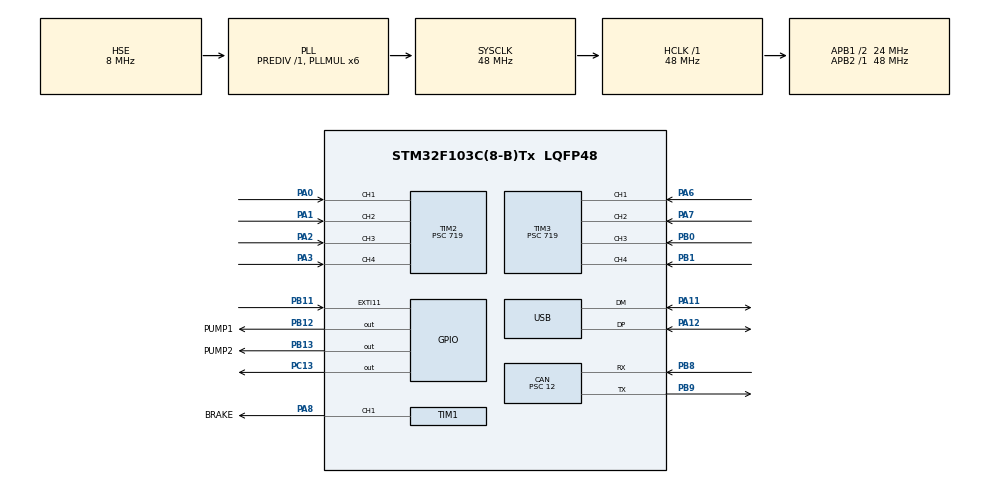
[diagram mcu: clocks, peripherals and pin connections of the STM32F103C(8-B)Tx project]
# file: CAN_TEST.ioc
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CAN.BS1=CAN_BS1_3TQ
CAN.BS2=CAN_BS2_2TQ
CAN.CalculateBaudRate=333333
CAN.CalculateTimeBit=3000.00
CAN.CalculateTimeQuantum=500.0
CAN.Prescaler=12
FREERTOS.Tasks01=can_task,2,128,CAN_Task,Default,NULL,Dynamic,NULL,NULL;rc_task,2,128,RemoteControl_Task,Default,NULL,Dynamic,NULL,NULL;uart_task,2,128,Uart_Task,Default,NULL,Dynamic,NULL,NULL
Mcu.Family=STM32F1
Mcu.Name=STM32F103C(8-B)Tx
Mcu.Package=LQFP48
NVIC.CAN1_RX1_IRQn=true\:5\:0\:false\:false\:true\:true\:true\:true
NVIC.EXTI15_10_IRQn=true\:5\:0\:false\:false\:true\:false\:true\:true
NVIC.FLASH_IRQn=true\:5\:0\:false\:false\:true\:true\:true\:true
NVIC.PriorityGroup=NVIC_PRIORITYGROUP_4
NVIC.RCC_IRQn=true\:5\:0\:false\:false\:true\:true\:true\:false
NVIC.TIM2_IRQn=true\:0\:0\:true\:false\:true\:false\:true\:true
NVIC.TIM3_IRQn=true\:0\:0\:true\:false\:true\:false\:true\:true
NVIC.USB_HP_CAN1_TX_IRQn=true\:5\:0\:false\:false\:true\:true\:true\:true
NVIC.USB_LP_CAN1_RX0_IRQn=true\:1\:0\:true\:false\:true\:false\:true\:true
PA0-WKUP.Signal=S_TIM2_CH1_ETR
PA1.Signal=S_TIM2_CH2
PA11.Mode=Device
PA11.Signal=USB_DM
PA12.Mode=Device
PA12.Signal=USB_DP
PA13.Mode=Serial_Wire
PA13.Signal=SYS_JTMS-SWDIO
PA14.Mode=Serial_Wire
PA14.Signal=SYS_JTCK-SWCLK
PA2.Signal=S_TIM2_CH3
PA3.Signal=S_TIM2_CH4
PA6.Signal=S_TIM3_CH1
PA7.Signal=S_TIM3_CH2
PA8.GPIO_Label=BRAKE
PA8.GPIO_ModeDefaultPP=GPIO_MODE_AF_OD
PA8.Signal=S_TIM1_CH1
PB0.Signal=S_TIM3_CH3
PB1.Signal=S_TIM3_CH4
PB11.GPIO_ModeDefaultEXTI=GPIO_MODE_IT_RISING
PB11.GPIO_PuPd=GPIO_NOPULL
PB11.Signal=GPXTI11
PB12.GPIO_Label=PUMP1
PB12.GPIO_PuPd=GPIO_PULLUP
PB12.Signal=GPIO_Output
PB13.GPIO_Label=PUMP2
PB13.GPIO_PuPd=GPIO_PULLUP
PB13.Signal=GPIO_Output
PB8.Mode=CAN_Activate
PB8.Signal=CAN_RX
PB9.Mode=CAN_Activate
PB9.Signal=CAN_TX
PC13-TAMPER-RTC.Signal=GPIO_Output
PD0-OSC_IN.Mode=HSE-External-Oscillator
PD0-OSC_IN.Signal=RCC_OSC_IN
PD1-OSC_OUT.Mode=HSE-External-Oscillator
PD1-OSC_OUT.Signal=RCC_OSC_OUT
ProjectManager.HeapSize=0x200
ProjectManager.StackSize=0x400
ProjectManager.TargetToolchain=MDK-ARM V5.27
RCC.AHBFreq_Value=48000000
RCC.APB1CLKDivider=RCC_HCLK_DIV2
RCC.APB1Freq_Value=24000000
RCC.APB1TimFreq_Value=48000000
RCC.APB2Freq_Value=48000000
RCC.APB2TimFreq_Value=48000000
RCC.HCLKFreq_Value=48000000
RCC.PLLMUL=RCC_PLL_MUL6
RCC.PLLSourceVirtual=RCC_PLLSOURCE_HSE
RCC.SYSCLKFreq_VALUE=48000000
RCC.SYSCLKSource=RCC_SYSCLKSOURCE_PLLCLK
RCC.USBFreq_Value=48000000
SH.S_TIM1_CH1.0=TIM1_CH1,PWM Generation1 CH1
SH.S_TIM2_CH1_ETR.0=TIM2_CH1,Input_Capture1_from_TI1
SH.S_TIM2_CH2.0=TIM2_CH2,Input_Capture2_from_TI2
SH.S_TIM2_CH3.0=TIM2_CH3,Input_Capture3_from_TI3
SH.S_TIM2_CH4.0=TIM2_CH4,Input_Capture4_from_TI4
SH.S_TIM3_CH1.0=TIM3_CH1,Input_Capture1_from_TI1
SH.S_TIM3_CH2.0=TIM3_CH2,Input_Capture2_from_TI2
SH.S_TIM3_CH3.0=TIM3_CH3,Input_Capture3_from_TI3
SH.S_TIM3_CH4.0=TIM3_CH4,Input_Capture4_from_TI4
TIM1.AutoReloadPreload=TIM_AUTORELOAD_PRELOAD_ENABLE
TIM1.Channel-PWM\ Generation1\ CH1=TIM_CHANNEL_1
TIM1.Period=1999
TIM1.Prescaler=299
TIM2.AutoReloadPreload=TIM_AUTORELOAD_PRELOAD_DISABLE
TIM2.Channel-Input_Capture1_from_TI1=TIM_CHANNEL_1
TIM2.Channel-Input_Capture2_from_TI2=TIM_CHANNEL_2
TIM2.Channel-Input_Capture3_from_TI3=TIM_CHANNEL_3
TIM2.Channel-Input_Capture4_from_TI4=TIM_CHANNEL_4
TIM2.Prescaler=719
TIM3.Channel-Input_Capture1_from_TI1=TIM_CHANNEL_1
TIM3.Channel-Input_Capture2_from_TI2=TIM_CHANNEL_2
TIM3.Channel-Input_Capture3_from_TI3=TIM_CHANNEL_3
TIM3.Channel-Input_Capture4_from_TI4=TIM_CHANNEL_4
TIM3.Prescaler=719
USB_DEVICE.CLASS_NAME_FS=CDC
USB_DEVICE.VirtualMode=Cdc
USB_DEVICE.VirtualModeFS=Cdc_FS
VP_FREERTOS_VS_CMSIS_V1.Mode=CMSIS_V1
VP_USB_DEVICE_VS_USB_DEVICE_CDC_FS.Mode=CDC_FS
board=custom

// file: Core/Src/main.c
/* USER CODE BEGIN Header */
/**
  ******************************************************************************
  * @file           : main.c
  * @brief          : Main program body
  ******************************************************************************
  * @attention
  *
  * <h2><center>&copy; Copyright (c) 2021 STMicroelectronics.
  * All rights reserved.</center></h2>
  *
  * This software component is licensed by ST under BSD 3-Clause license,
  * the "License"; You may not use this file except in compliance with the
  * License. You may obtain a copy of the License at:
  *                        opensource.org/licenses/BSD-3-Clause
  *
  ******************************************************************************
  */
/* USER CODE END Header */
#include "main.h"
#include "cmsis_os.h"
#include "can.h"
#include "tim.h"
#include "usb_device.h"
#include "gpio.h"

/* USER CODE BEGIN PV */
extern   void CAN1_Config(void);
/* USER CODE END PV */

void SystemClock_Config(void);
void MX_FREERTOS_Init(void);

int main(void)
{

  /* MCU Configuration--------------------------------------------------------*/

  /* Reset of all peripherals, Initializes the Flash interface and the Systick. */
  HAL_Init();

  /* Configure the system clock */
  SystemClock_Config();

  /* Initialize all configured peripherals */
  MX_GPIO_Init();
  MX_CAN_Init();
  MX_TIM1_Init();
  MX_TIM2_Init();
  MX_TIM3_Init();
  /* USER CODE BEGIN 2 */
	HAL_Delay(3000);

	CAN1_Config();
	 HAL_GPIO_WritePin(GPIOC, GPIO_PIN_13, GPIO_PIN_SET);

	HAL_TIM_IC_Start_IT(&htim2, TIM_CHANNEL_1);
	HAL_TIM_IC_Start_IT(&htim2, TIM_CHANNEL_2);
	HAL_TIM_IC_Start_IT(&htim2, TIM_CHANNEL_3);
	HAL_TIM_IC_Start_IT(&htim2, TIM_CHANNEL_4);
	HAL_TIM_Base_Start(&htim2);
	HAL_TIM_IC_Start_IT(&htim3, TIM_CHANNEL_1);
	HAL_TIM_IC_Start_IT(&htim3, TIM_CHANNEL_2);
	HAL_TIM_IC_Start_IT(&htim3, TIM_CHANNEL_3);
	HAL_TIM_IC_Start_IT(&htim3, TIM_CHANNEL_4);
	HAL_TIM_Base_Start(&htim3);
	//MX_USB_DEVICE_Init();

  /* USER CODE END 2 */

  /* Call init function for freertos objects (in freertos.c) */
  MX_FREERTOS_Init();
  /* Start scheduler */
  osKernelStart();

  /* We should never get here as control is now taken by the scheduler */
  /* Infinite loop */
  while (1)
  {

  }
}

void SystemClock_Config(void)
{
  RCC_OscInitTypeDef RCC_OscInitStruct = {0};
  RCC_ClkInitTypeDef RCC_ClkInitStruct = {0};
  RCC_PeriphCLKInitTypeDef PeriphClkInit = {0};

  /** Initializes the RCC Oscillators according to the specified parameters
  * in the RCC_OscInitTypeDef structure.
  */
  RCC_OscInitStruct.OscillatorType = RCC_OSCILLATORTYPE_HSE;
  RCC_OscInitStruct.HSEState = RCC_HSE_ON;
  RCC_OscInitStruct.HSEPredivValue = RCC_HSE_PREDIV_DIV1;
  RCC_OscInitStruct.HSIState = RCC_HSI_ON;
  RCC_OscInitStruct.PLL.PLLState = RCC_PLL_ON;
  RCC_OscInitStruct.PLL.PLLSource = RCC_PLLSOURCE_HSE;
  RCC_OscInitStruct.PLL.PLLMUL = RCC_PLL_MUL6;
  if (HAL_RCC_OscConfig(&RCC_OscInitStruct) != HAL_OK)
  {
    Error_Handler();
  }
  /** Initializes the CPU, AHB and APB buses clocks
  */
  RCC_ClkInitStruct.ClockType = RCC_CLOCKTYPE_HCLK|RCC_CLOCKTYPE_SYSCLK
                              |RCC_CLOCKTYPE_PCLK1|RCC_CLOCKTYPE_PCLK2;
  RCC_ClkInitStruct.SYSCLKSource = RCC_SYSCLKSOURCE_PLLCLK;
  RCC_ClkInitStruct.AHBCLKDivider = RCC_SYSCLK_DIV1;
  RCC_ClkInitStruct.APB1CLKDivider = RCC_HCLK_DIV2;
  RCC_ClkInitStruct.APB2CLKDivider = RCC_HCLK_DIV1;

  if (HAL_RCC_ClockConfig(&RCC_ClkInitStruct, FLASH_LATENCY_1) != HAL_OK)
  {
    Error_Handler();
  }
  PeriphClkInit.PeriphClockSelection = RCC_PERIPHCLK_USB;
  PeriphClkInit.UsbClockSelection = RCC_USBCLKSOURCE_PLL;
  if (HAL_RCCEx_PeriphCLKConfig(&PeriphClkInit) != HAL_OK)
  {
    Error_Handler();
  }
}

void Error_Handler(void)
{
}

/************************ (C) COPYRIGHT STMicroelectronics *****END OF FILE****/

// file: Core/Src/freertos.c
/* USER CODE BEGIN Header */
/**
  ******************************************************************************
  * File Name          : freertos.c
  * Description        : Code for freertos applications
  ******************************************************************************
  * @attention
  *
  * <h2><center>&copy; Copyright (c) 2021 STMicroelectronics.
  * All rights reserved.</center></h2>
  *
  * This software component is licensed by ST under Ultimate Liberty license
  * SLA0044, the "License"; You may not use this file except in compliance with
  * the License. You may obtain a copy of the License at:
  *                             www.st.com/SLA0044
  *
  ******************************************************************************
  */
/* USER CODE END Header */

#include "FreeRTOS.h"
#include "task.h"
#include "main.h"
#include "cmsis_os.h"

/* USER CODE BEGIN Includes */
#include "can.h"
#include "math_process.h"
#include "referee.h"
#include "protocol.h"
#include "math.h"
#include "tim.h"
#include "usb_device.h"
/* USER CODE END Includes */

/* USER CODE BEGIN PTD */

#define PWM_MID_MAX 2000-148  //0x95 - 0x99
#define PWM_MID_MIN 2000-152

#define PWM_HIGH_MAX 2000-190 //0xc7 - 0xc9
#define PWM_HIGH_MIN 2000-208

#define PWM_LOW_MAX 2000-90 //0x63 -0x66
#define PWM_LOW_MIN 2000-105

void Can_Pack_msg(float speed,float angle,uint8_t* data);
uint8_t RC_Watchdog(void);
uint8_t Can_TxMessage(uint8_t ide,uint32_t id,uint8_t len,uint8_t *data);
/* USER CODE END PTD */

/* USER CODE BEGIN PD */
uint8_t data[8]={5,2,0,1,3,1,4,0};

/* USER CODE END PD */

/* USER CODE BEGIN PM */
remote_ctrl_t Remote_Ctrl_info;
chassic_ctrl_t Chassic_Ctrl;
chassic_ctrl_t CAN_Ctrl;
chassic_odom_t Chassic_Odom;
pump_ctrl_t pump_ctrl;
mode_state_e Mode_State;
uint8_t error_flag = 0;
float Vx_speed = 0;
float Vy_speed = 0;
float theth = 0;
float Sum_speed = 0;
//extern uint8_t Rx_Buf[256];
uint8_t CAN_count = 0;
uint8_t can_tx[8];
int8_t sign = 1;
uint8_t rc_state =1;
uint8_t sw_state = 1;
/* USER CODE END PM */

osThreadId can_taskHandle;
osThreadId rc_taskHandle;
osThreadId uart_taskHandle;

/* USER CODE BEGIN FunctionPrototypes */
extern void usb_fifo_init(void);
/* USER CODE END FunctionPrototypes */

void CAN_Task(void const * argument);
void RemoteControl_Task(void const * argument);
void Uart_Task(void const * argument);

extern void MX_USB_DEVICE_Init(void);
void MX_FREERTOS_Init(void); /* (MISRA C 2004 rule 8.1) */

/* GetIdleTaskMemory prototype (linked to static allocation support) */
void vApplicationGetIdleTaskMemory( StaticTask_t **ppxIdleTaskTCBBuffer, StackType_t **ppxIdleTaskStackBuffer, uint32_t *pulIdleTaskStackSize );

/* USER CODE BEGIN GET_IDLE_TASK_MEMORY */
static StaticTask_t xIdleTaskTCBBuffer;
static StackType_t xIdleStack[configMINIMAL_STACK_SIZE];

void vApplicationGetIdleTaskMemory( StaticTask_t **ppxIdleTaskTCBBuffer, StackType_t **ppxIdleTaskStackBuffer, uint32_t *pulIdleTaskStackSize )
{
  *ppxIdleTaskTCBBuffer = &xIdleTaskTCBBuffer;
  *ppxIdleTaskStackBuffer = &xIdleStack[0];
  *pulIdleTaskStackSize = configMINIMAL_STACK_SIZE;
  /* place for user code */
}
/* USER CODE END GET_IDLE_TASK_MEMORY */

void MX_FREERTOS_Init(void) {

  /* Create the thread(s) */
  /* definition and creation of can_task */
  osThreadDef(can_task, CAN_Task, osPriorityHigh, 0, 128);
  can_taskHandle = osThreadCreate(osThread(can_task), NULL);

  /* definition and creation of rc_task */
  osThreadDef(rc_task, RemoteControl_Task, osPriorityHigh, 0, 128);
  rc_taskHandle = osThreadCreate(osThread(rc_task), NULL);

  /* definition and creation of uart_task */
  osThreadDef(uart_task, Uart_Task, osPriorityHigh, 0, 128);
  uart_taskHandle = osThreadCreate(osThread(uart_task), NULL);

}

void CAN_Task(void const * argument)
{
  /* init code for USB_DEVICE */
  MX_USB_DEVICE_Init();
  /* USER CODE BEGIN CAN_Task */
  /* Infinite loop */
  for(;;)
  {

		for(int i=0 ;i<4;i++)
		{
			Can_Pack_msg(CAN_Ctrl.wheel_speed[i],CAN_Ctrl.wheel_angle[i],can_tx);
			Can_TxMessage(0,CAN_RX_ID1+i,8,can_tx);
		  osDelay(1);
		}
    osDelay(1);
  }
  /* USER CODE END CAN_Task */
}

void RemoteControl_Task(void const * argument)
{
  /* USER CODE BEGIN RemoteControl_Task */

	HAL_TIM_Base_Start(&htim1);
  HAL_TIM_PWM_Start(&htim1,TIM_CHANNEL_1);

  /* Infinite loop */
  for(;;)
  {

		referee_send_data(CHASSIS_ODOM_CMD_ID,&Chassic_Odom,sizeof(Chassic_Odom));

		if (RC_Watchdog() )
	{

			if(Remote_Ctrl_info.PWM6>=PWM_MID_MIN && Remote_Ctrl_info.PWM6<=PWM_MID_MAX)
			{
				Mode_State = PROTECT_MODE;
				error_flag = 0;
				rc_state =1;
			}
			if (rc_state)
			{
				 if(Remote_Ctrl_info.PWM6>=PWM_LOW_MIN && Remote_Ctrl_info.PWM6<=PWM_LOW_MAX)
	 	  	{
				   if(error_flag==0)
					 {
						 Mode_State = REMOTER_MODE;
					   sw_state =1;
				   }
						 else
					   Mode_State = PROTECT_MODE;
			  }
			 else if(Remote_Ctrl_info.PWM6>=PWM_HIGH_MIN && Remote_Ctrl_info.PWM6<=PWM_HIGH_MAX)
			 {
				    if(error_flag==0)
						{
					    Mode_State = AUTO_MODE;
				     sw_state =1;
						}
							else
					  Mode_State = PROTECT_MODE;
			 }
		  }
			else
			{
				Mode_State = PROTECT_MODE;
			}
			}
		else
		{
			Mode_State = PROTECT_MODE;
			error_flag = 1;
		}
    switch(Mode_State)
		{
			case PROTECT_MODE: //刹车 加上 停止其他控制
			{
				CAN_Ctrl.wheel_speed[0]=0;
				CAN_Ctrl.wheel_speed[1]=0;
				CAN_Ctrl.wheel_speed[2]=0;
				CAN_Ctrl.wheel_speed[3]=0;
				CAN_Ctrl.wheel_angle[0]=0;
				CAN_Ctrl.wheel_angle[1]=0;
				CAN_Ctrl.wheel_angle[2]=0;
				CAN_Ctrl.wheel_angle[3]=0;
				CAN_Ctrl.brake=1;
				break;
			}

			case REMOTER_MODE:
			{
			if(Remote_Ctrl_info.PWM3>=PWM_MID_MIN && Remote_Ctrl_info.PWM3<=PWM_MID_MAX)
				{
					Vx_speed = -Map(1800,1900,-1,1,Remote_Ctrl_info.PWM2);
					Vy_speed = -Map(PWM_HIGH_MIN,PWM_LOW_MAX,-1,1,Remote_Ctrl_info.PWM0);
					if(ABS(Vy_speed)<0.08)
							Vy_speed = 0;
					if(ABS(Vx_speed)<0.08)
							Vx_speed = 0;
					theth = atan2(Vy_speed,Vx_speed)*57.1;
					if(theth>90)
					{
						theth = theth-180;
						sign = -1;
					}
					else if(theth >=0 && theth<90)
						sign = 1;
					else if(theth<-90)
					{
						theth = theth+180;
						sign = -1;
					}
					else if (theth>-90 && theth<0)
						sign =1;

			Sum_speed = sqrt(pow(Vx_speed,2)+pow(Vy_speed,2));

		//	if(Vx_speed<0&&Vy_speed>0)
		//		sign =-1;

			if(Remote_Ctrl_info.PWM7>=PWM_MID_MIN && Remote_Ctrl_info.PWM7<=PWM_MID_MAX)
				{
					CAN_Ctrl.wheel_speed[0]=sign*Sum_speed;
					CAN_Ctrl.wheel_speed[1]=sign*Sum_speed;
					CAN_Ctrl.wheel_speed[2]=sign*Sum_speed;
					CAN_Ctrl.wheel_speed[3]=sign*Sum_speed;
					CAN_Ctrl.wheel_angle[0]=-1*theth;
					CAN_Ctrl.wheel_angle[1]=-1*theth;
					CAN_Ctrl.wheel_angle[2]=-1*theth;
					CAN_Ctrl.wheel_angle[3]=-1*theth;
					CAN_Ctrl.brake=0;
				}
				else
				{
					CAN_Ctrl.wheel_speed[0]=sign*Sum_speed;
					CAN_Ctrl.wheel_speed[1]=sign*Sum_speed;
					CAN_Ctrl.wheel_speed[2]=sign*Sum_speed;
					CAN_Ctrl.wheel_speed[3]=sign*Sum_speed;
					CAN_Ctrl.wheel_angle[0]=-1*theth*0.5;
					CAN_Ctrl.wheel_angle[1]=-1*theth*0.5;
					CAN_Ctrl.wheel_angle[2]=0;
					CAN_Ctrl.wheel_angle[3]=0;
					CAN_Ctrl.brake=0;
				}
		  }
			else
			{
			CAN_Ctrl.wheel_angle[0]=50.267;
			CAN_Ctrl.wheel_angle[1]=-50.267;
			CAN_Ctrl.wheel_angle[2]=50.267;
			CAN_Ctrl.wheel_angle[3]=-50.267;
			CAN_Ctrl.brake=0;

				Sum_speed = -Map(PWM_HIGH_MIN,PWM_LOW_MAX,-1,1,Remote_Ctrl_info.PWM3);

				if(Sum_speed>0 )
				{
				CAN_Ctrl.wheel_speed[0]=ABS(Sum_speed);
				CAN_Ctrl.wheel_speed[1]=-ABS(Sum_speed);
				CAN_Ctrl.wheel_speed[2]=-ABS(Sum_speed);
				CAN_Ctrl.wheel_speed[3]=ABS(Sum_speed);
				}
				else
				{
				CAN_Ctrl.wheel_speed[0]=-ABS(Sum_speed);
				CAN_Ctrl.wheel_speed[1]=ABS(Sum_speed);
				CAN_Ctrl.wheel_speed[2]=ABS(Sum_speed);
				CAN_Ctrl.wheel_speed[3]=-ABS(Sum_speed);
				}
			}

		if(Remote_Ctrl_info.PWM4>=PWM_MID_MIN && Remote_Ctrl_info.PWM4<=PWM_MID_MAX)
				pump_ctrl.pump1_en = 0;
		else
				pump_ctrl.pump1_en = 1;
		if(Remote_Ctrl_info.PWM5>=PWM_MID_MIN && Remote_Ctrl_info.PWM5<=PWM_MID_MAX)
				pump_ctrl.pump2_en = 0;
		else
				pump_ctrl.pump2_en = 1;

				break;
			}

			case AUTO_MODE:
			{
				CAN_Ctrl.wheel_speed[0]=Chassic_Ctrl.wheel_speed[0];
				CAN_Ctrl.wheel_speed[1]=Chassic_Ctrl.wheel_speed[1];
				CAN_Ctrl.wheel_speed[2]=Chassic_Ctrl.wheel_speed[2];
				CAN_Ctrl.wheel_speed[3]=Chassic_Ctrl.wheel_speed[3];
				CAN_Ctrl.wheel_angle[0]=Chassic_Ctrl.wheel_angle[0];
				CAN_Ctrl.wheel_angle[1]=Chassic_Ctrl.wheel_angle[1];
				CAN_Ctrl.wheel_angle[2]=Chassic_Ctrl.wheel_angle[2];
				CAN_Ctrl.wheel_angle[3]=Chassic_Ctrl.wheel_angle[3];
				CAN_Ctrl.brake= Chassic_Ctrl.brake;

				break;
			}

			default:
			{}
		}
		 if(CAN_Ctrl.brake == 1)
		 {
		TIM1->CCR1 = 1000;
		 }
		 else
		 {
		  TIM1->CCR1 =1334;
		 }
			if(pump_ctrl.pump1_en == 1)
				 HAL_GPIO_WritePin(GPIOB, PUMP1_Pin, GPIO_PIN_SET);
			else
				HAL_GPIO_WritePin(GPIOB, PUMP1_Pin, GPIO_PIN_RESET);
			if(pump_ctrl.pump2_en == 1)
				HAL_GPIO_WritePin(GPIOB, PUMP2_Pin, GPIO_PIN_SET);
			else
				HAL_GPIO_WritePin(GPIOB, PUMP2_Pin, GPIO_PIN_RESET);

    osDelay(10);
  }
  /* USER CODE END RemoteControl_Task */
}

void Uart_Task(void const * argument)
{
  /* USER CODE BEGIN Uart_Task */
		usb_fifo_init();
	//HAL_UART_Receive_DMA(&huart1, (uint8_t *)Rx_Buf, 128);
  /* Infinite loop */
  for(;;)
  {
			referee_unpack_fifo_data();

    osDelay(5);
  }
  /* USER CODE END Uart_Task */
}

/* USER CODE BEGIN Application */
/* USER CODE BEGIN 4 */

/***********************************************
函数功能：RC_Watchdog 检测RC遥控器数据是否在正常值范围内
入口参数：
返回值：1  信道正常
       0   信道异常
************************************************/
uint8_t RC_Watchdog()
{
	uint8_t error=0;
	if (Remote_Ctrl_info.PWM0>PWM_HIGH_MIN && Remote_Ctrl_info.PWM0<PWM_LOW_MAX)
		error +=0;
	else
		error +=1;
	if (Remote_Ctrl_info.PWM1>PWM_HIGH_MIN && Remote_Ctrl_info.PWM1<PWM_LOW_MAX)
		error +=0;
	else
		error +=1;
	if (Remote_Ctrl_info.PWM2>PWM_HIGH_MIN && Remote_Ctrl_info.PWM2<PWM_LOW_MAX)
		error +=0;
	else
		error +=1;
	if (Remote_Ctrl_info.PWM3>PWM_HIGH_MIN && Remote_Ctrl_info.PWM3<PWM_LOW_MAX)
		error +=0;
	else
		error +=1;
	if (Remote_Ctrl_info.PWM4>PWM_HIGH_MIN && Remote_Ctrl_info.PWM4<PWM_LOW_MAX)
		error +=0;
	else
		error +=1;
	if (Remote_Ctrl_info.PWM5>PWM_HIGH_MIN && Remote_Ctrl_info.PWM5<PWM_LOW_MAX)
		error +=0;
	else
		error +=1;
	if (Remote_Ctrl_info.PWM6>PWM_HIGH_MIN && Remote_Ctrl_info.PWM6<PWM_LOW_MAX)
		error +=0;
	else
		error +=1;
	if (Remote_Ctrl_info.PWM7>PWM_HIGH_MIN && Remote_Ctrl_info.PWM7<PWM_LOW_MAX)
		error +=0;
	else
		error +=1;
	if (error!=0)
		return 0;
	else
    return 1;
}

/***********************************************
函数功能：Can_Pack_Send_msg 将陀螺仪数据打包进数组并发送CAN
入口参数：
			 speed(float)电机速度[-1,1]相对
			 angle2(float)舵机转角[-90°,90°]绝对
返回值：null
************************************************/
void Can_Pack_msg(float speed,float angle,uint8_t* data)
{
	memcpy(data,(void*)&speed,sizeof(speed));		//数据
	memcpy(data+4,(void*)&angle,sizeof(angle));		//数据
}

/***********************************************
函数功能：can发送数据
入口参数：
			ide：	0：标准帧
					1：扩展帧
			id：	帧ID
			len：	数据长度
			data：	数据
返回值：0：成功。1：失败
************************************************/

uint8_t Can_TxMessage(uint8_t ide,uint32_t id,uint8_t len,uint8_t *data)
{
	uint32_t   TxMailbox;
	CAN_TxHeaderTypeDef CAN_TxHeader;
	HAL_StatusTypeDef   HAL_RetVal;
	uint16_t i=0;
	if(ide == 0)
	{
		CAN_TxHeader.IDE = CAN_ID_STD;	//标准帧
		CAN_TxHeader.StdId = id;
	}
	else
	{
		CAN_TxHeader.IDE = CAN_ID_EXT;			//扩展帧
		CAN_TxHeader.ExtId = id;
	}
	CAN_TxHeader.DLC = len;
	CAN_TxHeader.RTR = CAN_RTR_DATA;//数据帧,CAN_RTR_REMOTE遥控帧
	CAN_TxHeader.TransmitGlobalTime = DISABLE;
	while(HAL_CAN_GetTxMailboxesFreeLevel(&hcan) == 0)
	{
		i++;
		if(i>0xfffe)
			return 1;
	}
	HAL_Delay(1);
	HAL_RetVal = HAL_CAN_AddTxMessage(&hcan,&CAN_TxHeader,data,&TxMailbox);
	if(HAL_RetVal != HAL_OK)
		return 1;
	return 0;
}
/* USER CODE END Application */

/************************ (C) COPYRIGHT STMicroelectronics *****END OF FILE****/
